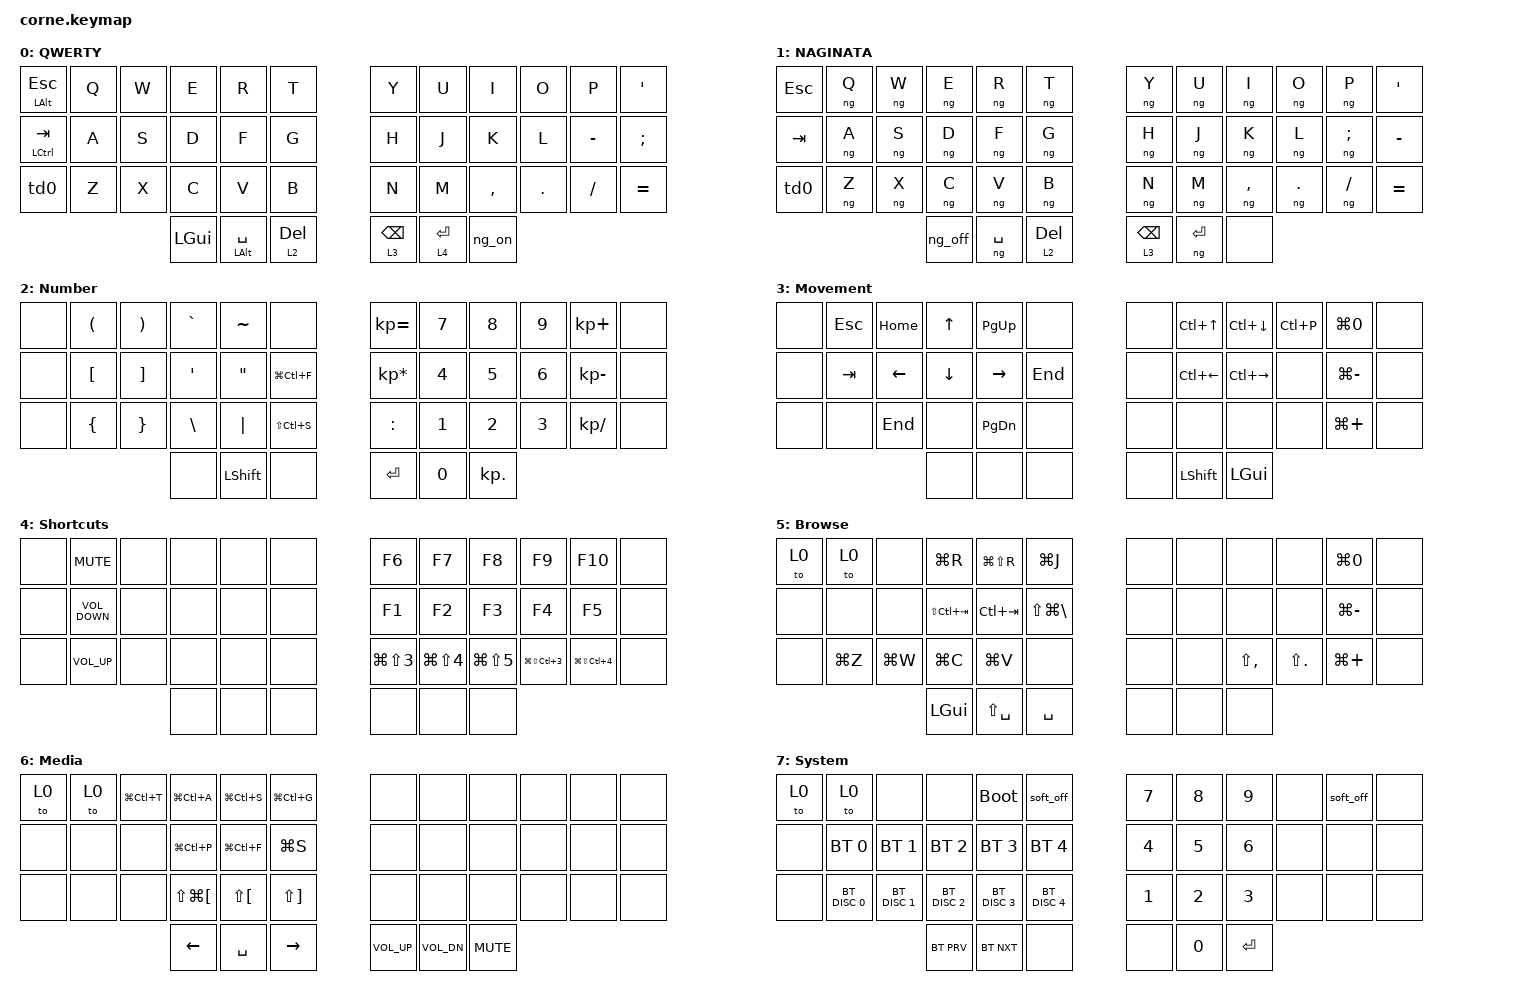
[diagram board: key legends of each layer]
/*
 * Copyright (c) 2020 The ZMK Contributors
 *
 * SPDX-License-Identifier: MIT
 */

#include <dt-bindings/zmk/mouse.h>
#include <behaviors/naginata.dtsi>
#include <behaviors.dtsi>
#include <dt-bindings/zmk/bt.h>
#include <dt-bindings/zmk/keys.h>

/ {
    behaviors {
        td0: td0 {
            compatible = "zmk,behavior-tap-dance";
            display-name = "Shift/Caps Lock Tap Dance";
            #binding-cells = <0>;
            bindings = <&kp LEFT_SHIFT>, <&kp CAPS>;
        };

        mt_impl: mod-tap-by-hold-tap {
            compatible = "zmk,behavior-hold-tap";
            label = "MOD_TAP_BY_HOLD_TAP";
            #binding-cells = <2>;
            tapping-term-ms = <200>;
            quick-tap-ms = <0>;
            flavor = "hold-preferred";
            bindings = <&kp>, <&kp>;
        };

        lt_impl: layer-tap-by-hold-tap {
            compatible = "zmk,behavior-hold-tap";
            label = "LAYER_TAP_BY_HOLD_TAP";
            #binding-cells = <2>;
            tapping-term-ms = <200>;
            quick-tap-ms = <0>;
            flavor = "tap-preferred";
            bindings = <&mo>, <&kp>;
        };
    };

    macros {
        ng_on: ng_on {
            compatible = "zmk,behavior-macro";
            #binding-cells = <0>;
            bindings = <&macro_tap>, <&kp LANGUAGE_1 &kp INTERNATIONAL_4 &to 1>;
        };

        ng_off: ng_off {
            compatible = "zmk,behavior-macro";
            #binding-cells = <0>;
            bindings = <&macro_tap>, <&kp LANGUAGE_2 &kp INTERNATIONAL_5 &to 0>;
        };

        kakko: kakko {
            compatible = "zmk,behavior-macro";
            #binding-cells = <0>;
            bindings = <&macro_tap>, <&kp LPAR &kp RPAR &kp LC(B)>;

            label = "KAKKO";
        };

        ng_kakko1: ng_kakko1 {
            compatible = "zmk,behavior-macro";
            #binding-cells = <0>;
            bindings = <&macro_tap>, <&kp LPAR &kp RPAR &kp ENTER &kp LC(B)>;

            label = "NG_KAKKO1";
        };

        ng_kakko2: ng_kakko2 {
            compatible = "zmk,behavior-macro";
            #binding-cells = <0>;
            bindings = <&macro_tap>, <&kp LPAR &kp RPAR>;

            label = "NG_KAKKO2";
        };
    };

    combos {
        compatible = "zmk,combos";

        BrowseLayer {
            bindings = <&to 6>;
            key-positions = <25 13>;
            layers = <0>;
        };

        MediaLayer {
            bindings = <&to 7>;
            key-positions = <14 26>;
            layers = <0>;
        };

        combo_ng_on {
            timeout-ms = <300>;
            key-positions = <18 19>;
            bindings = <&ng_on>;
            layers = <0>;
        };

        combo_ng_off {
            timeout-ms = <300>;
            key-positions = <16 17>;
            bindings = <&ng_off>;
            layers = <0 1>;
        };

        SystemR {
            bindings = <&to 7>;
            key-positions = <10 22 34>;
            layers = <0>;
        };

        Nakaguro {
            bindings = <&kp SLASH>;
            key-positions = <5 19 20>;
            layers = <1>;
            timeout-ms = <150>;
        };

        Hira {
            bindings = <&kp LC(J)>;
            key-positions = <19 31>;
            layers = <1>;
            timeout-ms = <150>;
        };

        Kata {
            bindings = <&kp LC(K)>;
            key-positions = <20 32>;
            layers = <1>;
            timeout-ms = <150>;
        };

        Emo {
            bindings = <&kp LC(LG(SPACE))>;
            key-positions = <22 34>;
            layers = <1 0>;
            timeout-ms = <150>;
        };

        Semicolon {
            bindings = <&kp SEMI>;
            key-positions = <22 21>;
            layers = <0>;
            timeout-ms = <150>;
        };

        ESC2 {
            bindings = <&kp ESCAPE>;
            key-positions = <1 2>;
            layers = <0 1>;
            timeout-ms = <150>;
        };

        TAB2 {
            bindings = <&kp TAB>;
            key-positions = <13 14>;
            layers = <0 1>;
            timeout-ms = <311>;
        };

        kakko {
            bindings = <&kakko>;
            key-positions = <19 20 16>;
            layers = <0>;
            timeout-ms = <150>;
        };

        ng_kakko1 {
            bindings = <&ng_kakko1>;
            key-positions = <19 20 16>;
            timeout-ms = <150>;
            layers = <1>;
        };

        ng_kakko2 {
            bindings = <&ng_kakko2>;
            key-positions = <19 20 14>;
            timeout-ms = <150>;
            layers = <1>;
        };

        SystemL {
            bindings = <&to 7>;
            key-positions = <5 17 29>;
            layers = <0>;
        };
    };

    keymap {
        compatible = "zmk,keymap";

        Layer_0 {
            bindings = <
&mt LALT ESCAPE  &kp Q  &kp W  &kp E     &kp R                &kp T             &kp Y                 &kp U             &kp I      &kp O    &kp P      &kp SINGLE_QUOTE
&mt LCTRL TAB    &kp A  &kp S  &kp D     &kp F                &kp G             &kp H                 &kp J             &kp K      &kp L    &kp MINUS  &kp SEMI
&td0             &kp Z  &kp X  &kp C     &kp V                &kp B             &kp N                 &kp M             &kp COMMA  &kp DOT  &kp FSLH   &kp EQUAL
                               &kp LGUI  &mt_impl LALT SPACE  &lt_impl 2 DEL    &lt_impl 3 BACKSPACE  &lt_impl 4 ENTER  &ng_on
            >;

            label = "QWERTY";
        };

        naginata_layer {
            bindings = <
&kp ESCAPE  &ng Q  &ng W  &ng E    &ng R      &ng T             &ng Y                 &ng U      &ng I      &ng O    &ng P     &kp SINGLE_QUOTE
&kp TAB     &ng A  &ng S  &ng D    &ng F      &ng G             &ng H                 &ng J      &ng K      &ng L    &ng SEMI  &kp MINUS
&td0        &ng Z  &ng X  &ng C    &ng V      &ng B             &ng N                 &ng M      &ng COMMA  &ng DOT  &ng FSLH  &kp EQUAL
                          &ng_off  &ng SPACE  &lt_impl 2 DEL    &lt_impl 3 BACKSPACE  &ng ENTER  &none
            >;

            label = "NAGINATA";
        };

        layer_2 {
            bindings = <
&none  &kp LPAR          &kp RPAR           &kp GRAVE         &kp TILDE          &none            &kp KP_EQUAL     &kp N7  &kp N8      &kp N9  &kp KP_PLUS      &none
&none  &kp LEFT_BRACKET  &kp RIGHT_BRACKET  &kp SINGLE_QUOTE  &kp DOUBLE_QUOTES  &kp LG(LC(F))    &kp KP_MULTIPLY  &kp N4  &kp N5      &kp N6  &kp KP_SUBTRACT  &none
&none  &kp LEFT_BRACE    &kp RIGHT_BRACE    &kp BACKSLASH     &kp PIPE           &kp LS(LC(S))    &kp COLON        &kp N1  &kp N2      &kp N3  &kp KP_DIVIDE    &none
                                            &none             &kp LSHFT          &none            &kp ENTER        &kp N0  &kp KP_DOT
            >;

            label = "Number";
        };

        layer_3 {
            bindings = <
&none  &kp ESCAPE  &kp HOME  &kp UP_ARROW    &kp PAGE_UP    &none      &none  &kp LC(UP_ARROW)    &kp LC(DOWN)   &kp LC(P)  &kp LG(NUMBER_0)  &none
&none  &kp TAB     &kp LEFT  &kp DOWN_ARROW  &kp RIGHT      &kp END    &none  &kp LC(LEFT_ARROW)  &kp LC(RIGHT)  &none      &kp LG(MINUS)     &none
&none  &none       &kp END   &none           &kp PAGE_DOWN  &none      &none  &none               &none          &none      &kp LG(PLUS)      &none
                             &none           &none          &none      &none  &kp LSHFT           &kp LEFT_GUI
            >;

            label = "Movement";
        };

        layer_4 {
            bindings = <
&none  &kp K_MUTE         &none  &none  &none  &none    &kp F6                &kp F7                &kp F8          &kp F9                    &kp F10                   &none
&none  &kp C_VOLUME_DOWN  &none  &none  &none  &none    &kp F1                &kp F2                &kp F3          &kp F4                    &kp F5                    &none
&none  &kp C_VOLUME_UP    &none  &none  &none  &none    &kp LG(LS(NUMBER_3))  &kp LG(LS(NUMBER_4))  &kp LG(LS(N5))  &kp LG(LS(LC(NUMBER_3)))  &kp LG(LS(LC(NUMBER_4)))  &none
                                 &none  &none  &none    &none                 &none                 &none
            >;

            label = "Shortcuts";
        };

        layer_5 {
            bindings = <
&to 0  &to 0      &none      &kp LG(R)        &kp LG(LS(R))  &kp LG(J)                &none  &none  &none          &none           &kp LG(NUMBER_0)  &none
&none  &none      &none      &kp LS(LC(TAB))  &kp LC(TAB)    &kp LS(LG(BACKSLASH))    &none  &none  &none          &none           &kp LG(MINUS)     &none
&none  &kp LG(Z)  &kp LG(W)  &kp LG(C)        &kp LG(V)      &none                    &none  &none  &kp LS(COMMA)  &kp LS(PERIOD)  &kp LG(PLUS)      &none
                             &kp LGUI         &kp LS(SPACE)  &kp SPACE                &none  &none  &none
            >;

            label = "Browse";
        };

        layer_6 {
            bindings = <
&to 0  &to 0  &kp LG(LC(T))  &kp LG(LC(A))             &kp LG(LC(S))         &kp LG(LC(G))            &none            &none         &none       &none  &none  &none
&none  &none  &none          &kp LG(LC(P))             &kp LG(LC(F))         &kp LG(S)                &none            &none         &none       &none  &none  &none
&none  &none  &none          &kp LS(LG(LEFT_BRACKET))  &kp LS(LEFT_BRACKET)  &kp LS(RIGHT_BRACKET)    &none            &none         &none       &none  &none  &none
                             &kp LEFT                  &kp SPACE             &kp RIGHT                &kp C_VOLUME_UP  &kp C_VOL_DN  &kp K_MUTE
            >;

            label = "Media";
        };

        layer_7 {
            bindings = <
&to 0  &to 0          &none          &none          &bootloader    &soft_off        &kp NUMBER_7  &kp NUMBER_8  &kp NUMBER_9  &none  &soft_off  &none
&none  &bt BT_SEL 0   &bt BT_SEL 1   &bt BT_SEL 2   &bt BT_SEL 3   &bt BT_SEL 4     &kp NUMBER_4  &kp NUMBER_5  &kp NUMBER_6  &none  &none      &none
&none  &bt BT_DISC 0  &bt BT_DISC 1  &bt BT_DISC 2  &bt BT_DISC 3  &bt BT_DISC 4    &kp NUMBER_1  &kp NUMBER_2  &kp NUMBER_3  &none  &none      &none
                                     &bt BT_PRV     &bt BT_NXT     &none            &none         &kp NUMBER_0  &kp ENTER
            >;

            label = "System";
        };
    };

    conditional_layers { compatible = "zmk,conditional-layers"; };
};
